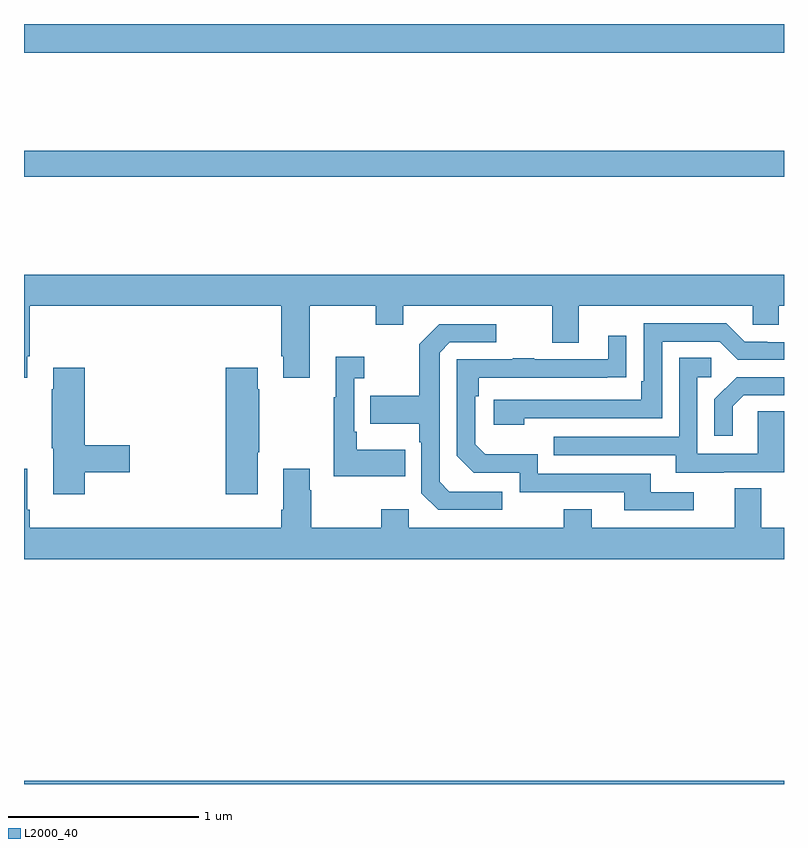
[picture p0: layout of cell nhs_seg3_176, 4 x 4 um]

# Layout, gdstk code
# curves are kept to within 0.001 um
import gdstk
lib = gdstk.Library(unit=1e-6, precision=1e-09)
def R(c, l, rs):  # rectangles x0, y0, x1, y1
    for r in rs: c.add(gdstk.rectangle(r[:2], r[2:], *l))
def P(c, l, *ps):  # polygons
    for p in ps: c.add(gdstk.Polygon(p, *l))
L2000_40 = (2000, 40)

nhs_seg3_176 = lib.new_cell('nhs_seg3_176')
R(nhs_seg3_176, L2000_40, [(119,698.4,123,698.416), (119,701.596,123,701.732), (119,702.248,123,702.4)])
P(nhs_seg3_176, L2000_40, [(119.017,700.651),(119.03,700.651),(119.03,700.916),(120.353,700.916),(120.353,700.651),(120.365,700.651),(120.365,700.539),(120.505,700.539),(120.505,700.916),(120.85,700.916),(120.85,700.817),(120.997,700.817),(120.997,700.916),(121.781,700.916),(121.781,700.722),(121.921,700.722),(121.921,700.916),(122.835,700.916),(122.835,700.818),(122.973,700.818),(122.973,700.916),(123,700.916),(123,701.08),(119,701.08),(119,700.539),(119.017,700.539)],
  [(121.634,700.326),(122.358,700.326),(122.358,700.728),(122.661,700.728),(122.757,700.632),(123,700.632),(123,700.725),(122.912,700.725),(122.912,700.728),(122.793,700.728),(122.697,700.824),(122.262,700.824),(122.262,700.519),(122.249,700.519),(122.249,700.422),(121.473,700.422),(121.473,700.292),(121.634,700.292)],
  [(121.516,699.939),(121.239,699.939),(121.188,699.99),(121.188,700.671),(121.242,700.725),(121.486,700.725),(121.486,700.821),(121.185,700.821),(121.08,700.715),(121.08,700.443),(120.823,700.443),(120.823,700.295),(121.08,700.295),(121.08,700.199),(121.092,700.199),(121.092,699.93),(121.179,699.843),(121.516,699.843)],
  [(122.524,699.936),(122.299,699.936),(122.299,700.032),(121.704,700.032),(121.704,700.135),(121.427,700.135),(121.374,700.188),(121.374,700.442),(121.394,700.442),(121.394,700.539),(122.171,700.54),(122.171,700.759),(122.075,700.759),(122.075,700.635),(121.685,700.635),(121.685,700.64),(121.573,700.64),(121.573,700.635),(121.278,700.635),(121.278,700.128),(121.368,700.038),(121.608,700.038),(121.608,699.936),(122.159,699.936),(122.159,699.84),(122.524,699.84)],
  [(121.007,700.159),(120.751,700.159),(120.751,700.255),(120.738,700.255),(120.738,700.535),(120.79,700.535),(120.79,700.648),(120.641,700.648),(120.641,700.435),(120.63,700.435),(120.63,700.019),(121.007,700.019)],
  [(122.683,700.041),(123,700.041),(123,700.361),(122.862,700.361),(122.862,700.137),(122.544,700.137),(122.544,700.542),(122.617,700.542),(122.617,700.643),(122.448,700.643),(122.448,700.227),(121.789,700.227),(121.789,700.131),(122.429,700.131),(122.429,700.037),(122.683,700.037)],
  [(120.229,700.147),(120.237,700.147),(120.237,700.478),(120.229,700.478),(120.229,700.591),(120.062,700.591),(120.062,699.924),(120.229,699.924)],
  [(119.321,700.042),(119.557,700.042),(119.557,700.184),(119.321,700.184),(119.321,700.591),(119.153,700.591),(119.153,700.478),(119.146,700.478),(119.146,700.167),(119.153,700.167),(119.153,699.924),(119.321,699.924)],
  [(122.731,700.389),(122.788,700.446),(123,700.446),(123,700.542),(122.75,700.542),(122.634,700.426),(122.634,700.233),(122.731,700.233)],
  [(123,699.748),(122.881,699.748),(122.881,699.956),(122.741,699.956),(122.741,699.748),(121.987,699.748),(121.987,699.847),(121.84,699.847),(121.84,699.748),(121.026,699.748),(121.026,699.847),(120.88,699.847),(120.88,699.748),(120.513,699.748),(120.513,699.947),(120.505,699.947),(120.505,700.06),(120.365,700.06),(120.365,699.844),(120.353,699.844),(120.353,699.748),(119.03,699.748),(119.03,699.844),(119.017,699.844),(119.017,700.06),(119,700.06),(119,699.584),(123,699.584)])

lib.write_gds('nhs_seg3_176.gds')
